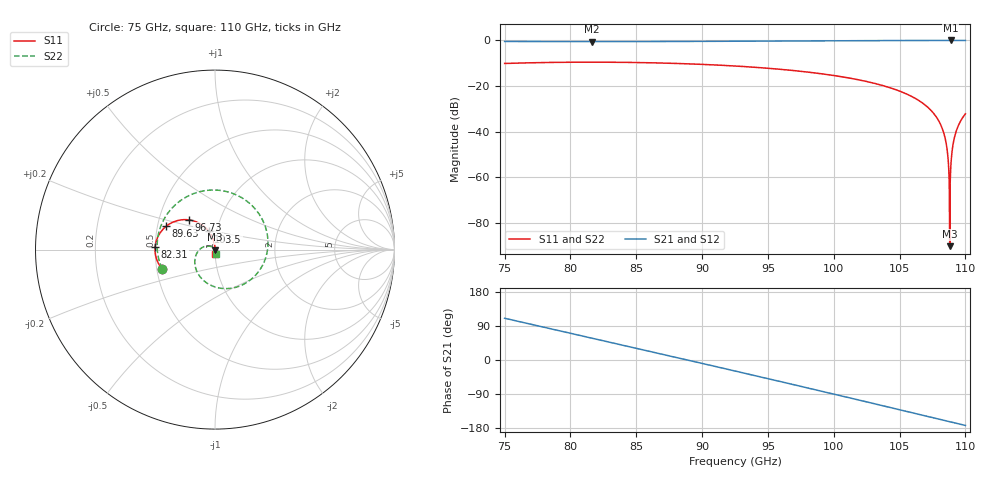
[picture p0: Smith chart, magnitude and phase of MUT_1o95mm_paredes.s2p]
! TOUCHSTONE file generated by CST MICROWAVE STUDIO
! Date and time: Mon Feb  5 17:59:26 2024
! Project name: material_pared.cst
! Header version: 2018
! Port assignment regex: !\s*Touchstone port\s*([0-9]+)\s*=\s*(CST MWS port|CST DS port)\s*([0-9]+|Zmin|Zmax)\s*\(\"(.*)\"\)(\s*mode\s*([0-9]+))?.*
! Touchstone port assignment:
! Touchstone port 1 = CST MWS port 1 ("")
! Touchstone port 2 = CST MWS port 2 ("")
# GHz S MA R 376.7
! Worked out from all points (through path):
!   1001 points, 75 GHz to 110 GHz, reference 376.7 ohm
!   highest |S21| = 0.00 dB at 108.9 GHz (marker M1); lowest = -0.5 dB at 81.61 GHz (marker M2)
!   group delay of S21, straight-line fit = 22.4 ps
!   lowest |S11| = -90.3 dB at 108.8 GHz (marker M3), VSWR 1.00, Z = 377 - j0.023 ohm
!   |S11| at or under -10 dB: start of sweep to 75.56 GHz; 87.54 GHz to end of sweep
!   |S22| runs from -86.3 to -9.5 dB; largest |S21 - S12| = 0.00024
!   S11 on the Smith chart (normalised r, x): 75 GHz: 0.54, -0.13; 82.31 GHz: 0.50, +0.02; 89.63 GHz: 0.56, +0.16; 96.73 GHz: 0.71, +0.25; 103.5 GHz: 0.92, +0.19; 110 GHz: 1.00, -0.05
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75  0.3127 -159.5  0.9499 110.2  0.9499 110.2  0.3127 -160.1
80.845  0.3338 -177.9  0.9426 63.8  0.9426 63.8  0.3338 125.4
81.615  0.334 179.7  0.9425 57.7  0.9425 57.7  0.3341 115.6
82.315  0.3337 177.6  0.9426 52.1  0.9426 52.1  0.3338 106.7
86.69  0.3209 163.9  0.9471 17.4  0.9471 17.4  0.3209 51.0
89.63  0.3017 154.6  0.9534 -6.0  0.9534 -6.0  0.3016 13.4
92.5  0.275 145.4  0.9615 -29.0  0.9614 -29.0  0.2748 -23.5
96.735  0.2217 131.6  0.9752 -63.3  0.975 -63.3  0.2215 -78.2
98.345  0.1973 126.3  0.9804 -76.4  0.9802 -76.4  0.1972 -99.1
103.49  0.1069 108.7  0.9942 -118.7  0.9941 -118.7  0.1068 -166.1
104.19  0.09342 106.3  0.9956 -124.5  0.9955 -124.5  0.09333 -175.3
106.325  0.05091 98.8  0.9986 -142.2  0.9986 -142.2  0.05092 156.8
107.69  0.02303 94.0  0.9997 -153.5  0.9997 -153.5  0.0231 138.9
108.39  0.008628 91.6  0.9999 -159.3  0.9999 -159.3  0.008706 129.6
108.565  0.005021 91.0  1 -160.8  1 -160.8  0.005099 127.2
108.67  0.002856 90.6  1 -161.7  1 -161.7  0.002933 125.7
108.81  3.063e-05 -96.0  1 -162.8  1 -162.8  4.829e-05 100.1
108.88  0.001474 -90.3  1 -163.4  1 -163.4  0.001401 -55.9
108.985  0.003639 -90.6  1 -164.3  1 -164.3  0.003569 -57.7
109.09  0.005805 -91.0  1 -165.2  1 -165.2  0.005737 -59.2
109.265  0.009413 -91.6  1 -166.6  0.9999 -166.6  0.009352 -61.6
110  0.02455 -94.2  0.9998 -172.7  0.9997 -172.7  0.02454 -71.3
